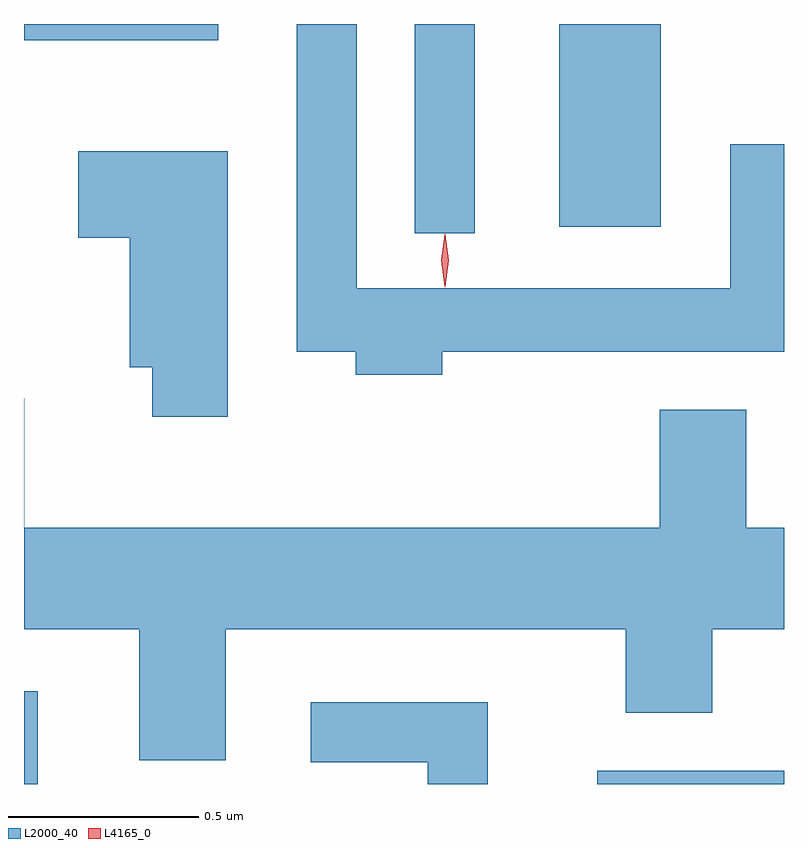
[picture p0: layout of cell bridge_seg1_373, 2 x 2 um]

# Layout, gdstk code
import gdstk
lib = gdstk.Library(unit=1e-6, precision=1e-09)
def R(c, l, rs):  # rectangles x0, y0, x1, y1
    for r in rs: c.add(gdstk.rectangle(r[:2], r[2:], *l))
def P(c, l, *ps):  # polygons
    for p in ps: c.add(gdstk.Polygon(p, *l))
L2000_40 = (2000, 40)
L4165_0 = (4165, 0)

bridge_seg1_373 = lib.new_cell('bridge_seg1_373')
R(bridge_seg1_373, L2000_40, [(926.468,872.529,926.504,872.773), (927.976,872.529,928.468,872.564), (927.496,873.978,927.654,874.529), (927.876,873.996,928.144,874.529), (926.468,874.486,926.979,874.529)])
P(bridge_seg1_373, L2000_40, [(927.569,873.666),(928.468,873.666),(928.468,874.213),(928.326,874.213),(928.326,873.834),(927.344,873.834),(927.344,874.529),(927.186,874.529),(927.186,873.666),(927.341,873.666),(927.341,873.606),(927.569,873.606)],
  [(927.004,874.194),(926.611,874.194),(926.611,873.966),(926.746,873.966),(926.746,873.626),(926.806,873.626),(926.806,873.496),(927.004,873.496)],
  [(928.279,872.936),(928.468,872.936),(928.468,873.204),(928.369,873.204),(928.369,873.514),(928.141,873.514),(928.141,873.204),(926.469,873.204),(926.469,873.544),(926.468,873.544),(926.468,872.936),(926.771,872.936),(926.771,872.591),(926.999,872.591),(926.999,872.936),(928.051,872.936),(928.051,872.716),(928.279,872.716)],
  [(927.689,872.744),(927.223,872.744),(927.223,872.586),(927.531,872.586),(927.531,872.529),(927.689,872.529)])
P(bridge_seg1_373, L4165_0, [(927.575,873.837),(927.566,873.907),(927.575,873.976),(927.576,873.976),(927.576,873.976),(927.586,873.907),(927.576,873.837),(927.576,873.837)],
  [(927.575,873.84),(927.566,873.906),(927.575,873.972),(927.576,873.973),(927.576,873.972),(927.586,873.906),(927.576,873.84),(927.576,873.84)])

lib.write_gds('bridge_seg1_373.gds')
